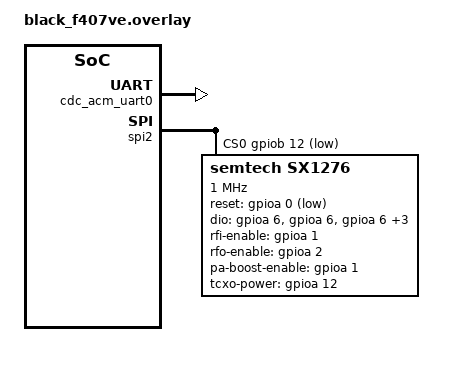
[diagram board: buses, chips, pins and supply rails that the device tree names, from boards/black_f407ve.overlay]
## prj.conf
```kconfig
CONFIG_GPIO=y
CONFIG_SPI=y
CONFIG_CONSOLE=y
CONFIG_LOG=y
CONFIG_PRINTK=y

#CONFIG_USB_CDC_ACM=y
CONFIG_USB_DEVICE_STACK=y
CONFIG_USB_DEVICE_PRODUCT="Zephyr Console"
CONFIG_SERIAL=y
CONFIG_UART_LINE_CTRL=y
CONFIG_USB_DEVICE_VID=0x1234
CONFIG_USB_DEVICE_PID=0x100

#CONFIG_UART_INTERRUPT_DRIVEN=y
#CONFIG_UART_CONSOLE_ON_DEV_NAME="CDC_ACM_0"

CONFIG_LORA=y
CONFIG_LORA_LOG_LEVEL_DBG=y
CONFIG_LORA_SX12XX=y
#CONFIG_LORA_SX1276=y
CONFIG_LORAWAN=y
CONFIG_LORAWAN_LOG_LEVEL_DBG=y
CONFIG_LORAMAC_REGION_EU868=y
CONFIG_LORAWAN_SYSTEM_MAX_RX_ERROR=90

CONFIG_TEST_RANDOM_GENERATOR=y
```

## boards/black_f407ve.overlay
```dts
/ {
    chosen {
        zephyr,console = &cdc_acm_uart0;
    };
};

&zephyr_udc0 {
    cdc_acm_uart0: cdc_acm_uart0 {
        compatible = "zephyr,cdc-acm-uart";
        label = "CDC_ACM_0";
    };
};

&spi2 {
    status = "okay";
    cs-gpios = <&gpiob 12  GPIO_ACTIVE_LOW>;

    lora: sx1276@0 {
        compatible = "semtech,sx1276";
        reg = <0>;
        label = "sx1276";
        reset-gpios = <&gpioa 0 GPIO_ACTIVE_LOW>;
        dio-gpios = <&gpioa 6 (GPIO_PULL_DOWN | GPIO_ACTIVE_HIGH)>,
            <&gpioa 6 (GPIO_PULL_DOWN | GPIO_ACTIVE_HIGH)>,
            <&gpioa 6 (GPIO_PULL_DOWN | GPIO_ACTIVE_HIGH)>,
            <&gpioa 9 (GPIO_PULL_DOWN | GPIO_ACTIVE_HIGH)>,
            <&gpioa 9 (GPIO_PULL_DOWN | GPIO_ACTIVE_HIGH)>,
            <&gpioa 9 (GPIO_PULL_DOWN | GPIO_ACTIVE_HIGH)>;
        rfi-enable-gpios = <&gpioa 1 GPIO_ACTIVE_HIGH>;
        rfo-enable-gpios = <&gpioa 2 GPIO_ACTIVE_HIGH>;
        pa-boost-enable-gpios = <&gpioa 1 GPIO_ACTIVE_HIGH>;
        tcxo-power-gpios = <&gpioa 12 GPIO_ACTIVE_HIGH>;
        tcxo-power-startup-delay-ms = <5>;
        spi-max-frequency = <1000000>;
    };
};

/ {
    aliases {
       lora0 = &lora;
  };
};
```

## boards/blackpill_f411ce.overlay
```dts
/ {
    chosen {
        zephyr,console = &cdc_acm_uart0;
    };
};

&zephyr_udc0 {
    cdc_acm_uart0: cdc_acm_uart0 {
        compatible = "zephyr,cdc-acm-uart";
        label = "CDC_ACM_0";
    };
};


&spi1 {
    status = "okay";
    cs-gpios = <&gpiob 12  GPIO_ACTIVE_LOW>;

    lora: sx1276@0 {
        compatible = "semtech,sx1276";
        reg = <0>;
        label = "sx1276";
        reset-gpios = <&gpioa 3 GPIO_ACTIVE_LOW>;
        dio-gpios = <&gpioa 0 (GPIO_PULL_DOWN | GPIO_ACTIVE_HIGH)>,
                    <&gpioa 1 (GPIO_PULL_DOWN | GPIO_ACTIVE_HIGH)>;
        spi-max-frequency = <1000000>;
        power-amplifier-output = "pa-boost";
    };
};

/ {
    aliases {
       lora0 = &lora;
  };
};
```

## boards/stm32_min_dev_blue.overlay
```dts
/ {
    chosen {
        zephyr,console = &cdc_acm_uart0;
    };
};

&zephyr_udc0 {
    cdc_acm_uart0: cdc_acm_uart0 {
        compatible = "zephyr,cdc-acm-uart";
        label = "CDC_ACM_0";
    };
};


&spi1 {
    status = "okay";
    cs-gpios = <&gpioa 15 GPIO_ACTIVE_LOW>;

    lora: sx1276@0 {
        compatible = "semtech,sx1276";
        reg = <0>;
        label = "sx1276";
        reset-gpios = <&gpioc 0 GPIO_ACTIVE_LOW>;
        dio-gpios = <&gpiob 4 (GPIO_PULL_DOWN | GPIO_ACTIVE_HIGH)>,
            <&gpiob 1 (GPIO_PULL_DOWN | GPIO_ACTIVE_HIGH)>,
            <&gpiob 0 (GPIO_PULL_DOWN | GPIO_ACTIVE_HIGH)>,
            <&gpioc 13 (GPIO_PULL_DOWN | GPIO_ACTIVE_HIGH)>,
            <&gpioa 5 (GPIO_PULL_DOWN | GPIO_ACTIVE_HIGH)>,
            <&gpioa 4 (GPIO_PULL_DOWN | GPIO_ACTIVE_HIGH)>;
        rfi-enable-gpios = <&gpioa 1 GPIO_ACTIVE_HIGH>;
        rfo-enable-gpios = <&gpioc 2 GPIO_ACTIVE_HIGH>;
        pa-boost-enable-gpios = <&gpioc 1 GPIO_ACTIVE_HIGH>;
        tcxo-power-gpios = <&gpioa 12 GPIO_ACTIVE_HIGH>;
        tcxo-power-startup-delay-ms = <5>;
        spi-max-frequency = <1000000>;
    };
};

/ {
    aliases {
       lora0 = &lora;
  };
};
```

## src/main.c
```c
#define   OTAA
//#define ABP

#include <lorawan/lorawan.h>
#include <zephyr.h>
#include <usb/usb_device.h>
#include <drivers/uart.h>
#include <drivers/gpio.h>
#include <zephyr/random/rand32.h>

BUILD_ASSERT(DT_NODE_HAS_COMPAT(DT_CHOSEN(zephyr_console), zephyr_cdc_acm_uart),
         "Console device is not ACM CDC UART device");

#define DEFAULT_RADIO_NODE DT_ALIAS(lora0)
BUILD_ASSERT(DT_NODE_HAS_STATUS(DEFAULT_RADIO_NODE, okay), "No default LoRa radio specified in DT");
#define DEFAULT_RADIO DT_LABEL(DEFAULT_RADIO_NODE)

#define LOG_LEVEL CONFIG_LOG_DEFAULT_LEVEL
#include <logging/log.h>
LOG_MODULE_REGISTER(lorawan_node);

/* Customize based on network configuration */
// OTAA
#ifdef OTAA
#define LORAWAN_DEV_EUI         { 0x00, 0x00, 0x00, 0x00, 0x00, 0x00, 0x00, 0x00 }    // MSB Format!
#define LORAWAN_JOIN_EUI        { 0x00, 0x00, 0x00, 0x00, 0x00, 0x00, 0x00, 0x00 }    // MSB Format!
#define LORAWAN_APP_KEY         { 0x00, 0x00, 0x00, 0x00, 0x00, 0x00, 0x00, 0x00, 0x00, 0x00, 0x00, 0x00, 0x00, 0x00, 0x00, 0x00 }
#endif

// ABP
#ifdef ABP
#define LORAWAN_DEV_ADDR        { 0x00, 0x00, 0x00, 0x00 }
#define LORAWAN_NWK_SKEY        { 0x00, 0x00, 0x00, 0x00, 0x00, 0x00, 0x00, 0x00, 0x00, 0x00, 0x00, 0x00, 0x00, 0x00, 0x00, 0x00 }
#define LORAWAN_APP_SKEY        { 0x00, 0x00, 0x00, 0x00, 0x00, 0x00, 0x00, 0x00, 0x00, 0x00, 0x00, 0x00, 0x00, 0x00, 0x00, 0x00 }
#define LORAWAN_APP_EUI         { 0x00, 0x00, 0x00, 0x00, 0x00, 0x00, 0x00, 0x00 }
#endif

#define DELAY K_MSEC(10000)

char data[] = {'h', 'e', 'l', 'l', 'o', 'w', 'o', 'r', 'l', 'd','f','r','o','z','e','p','h','y','r'};

/* size of stack area used by each thread */
#define STACKSIZE 1024

/* scheduling priority used by each thread */
#define PRIORITY 7

#define LED0_NODE DT_ALIAS(led0)
//#define LED1_NODE DT_ALIAS(led1)

static const struct gpio_dt_spec led0 = GPIO_DT_SPEC_GET(LED0_NODE, gpios);

uint32_t    mainled_rate = 150;     

void blink(const struct gpio_dt_spec *led, uint32_t *sleep_ms, uint32_t id) {
    int ret;

    if (!device_is_ready(led->port)) {
        return;
    }

    ret = gpio_pin_configure_dt(led, GPIO_OUTPUT_ACTIVE);
    if (ret < 0) {
        return;
    }

    while (1) {
        // if the rate is zero we set the LED OFF
        if ( *sleep_ms == 0) {
            gpio_pin_set_dt(led, 0);
            // and we sleep some time to let the task run
            k_msleep(200);
        } else {
            if ( *sleep_ms == 1) {
                // Led always on
                gpio_pin_set_dt(led, 1);
                // and we sleep some time to let the task run
                k_msleep(200);
            } else {
                // Otherwise we just blink the led at the defined rate
                gpio_pin_toggle_dt(led);
                //printk("Blink %d\n", id);
                k_msleep( *sleep_ms);
            }
        }
    }
}

void blink0(void) {

    blink(&led0, &mainled_rate, 0);
}

// Call back functions:
// Downlink callback
static void dl_callback(uint8_t port, bool data_pending, int16_t rssi, int8_t snr,  uint8_t len, const uint8_t *data)
{   
    printk("\nDownlink data received: \n");
    for(int i=0; i < len; i++ )
        printk("%02X ", data[i]);
    
    printk("\n");
    printk("Data size: %d\n" , len );
    printk("Data Port: %d\n" , port );
    printk("RSSI:      %d\n" , (int16_t)rssi );
    printk("SNR:       %d\n" , (int16_t)snr );
    printk("Data pend: %d\n" , data_pending );

    printk("\n\n");

}

// ADR change callback
static void lorwan_datarate_changed(enum lorawan_datarate dr)
{   
    uint8_t unused, max_size;
    
    lorawan_get_payload_sizes(&unused, &max_size); 
    LOG_INF("New Datarate: DR_%d, Max Payload %d", dr, max_size);
}

/* Main program.
*/

void main(void)
{
	const struct device *lora_dev;
	struct lorawan_join_config join_cfg;
#ifdef OTAA
	uint8_t dev_eui[] = LORAWAN_DEV_EUI;
	uint8_t join_eui[] = LORAWAN_JOIN_EUI;
	uint8_t app_key[] = LORAWAN_APP_KEY;
#endif

#ifdef ABP
    uint8_t dev_addr[] = LORAWAN_DEV_ADDR;
    uint8_t nwk_skey[] = LORAWAN_NWK_SKEY;
    uint8_t app_skey[] = LORAWAN_APP_SKEY;
    uint8_t app_eui[]  = LORAWAN_APP_EUI;
#endif
	int ret;

    // Give time connect to USB.
    k_msleep(2500);
    mainled_rate = 500;         // Change led blinking rate to signal main program start.

    printk("Starting up Lora node...\n\n");

	lora_dev = device_get_binding(DEFAULT_RADIO);
	if (!lora_dev) {
        printk("Lora default radio not found.\nExiting program.\n");
		return;
	}

    printk("Starting Lorawan stack...\n");
	ret = lorawan_start();
	if (ret < 0) {
		printk("lorawan_start failed: %d\n\n", ret);
		return;
	}

    // Enable ADR
    lorawan_enable_adr( true );
    
    // Enable callbacks
    struct lorawan_downlink_cb downlink_cb = {
        .port = LW_RECV_PORT_ANY,
        .cb = dl_callback
    };

    lorawan_register_downlink_callback( &downlink_cb );
    lorawan_register_dr_changed_callback( lorwan_datarate_changed );

    uint32_t random = sys_rand32_get();

    uint16_t dev_nonce = random & 0x0000FFFF;

#ifdef OTAA
	join_cfg.mode = LORAWAN_CLASS_A;
	join_cfg.dev_eui = dev_eui;
	join_cfg.otaa.join_eui = join_eui;
	join_cfg.otaa.app_key = app_key;
	join_cfg.otaa.nwk_key = app_key;
    join_cfg.otaa.dev_nonce = dev_nonce;
#endif

#ifdef ABP
    join_cfg.mode = LORAWAN_ACT_ABP;
    join_cfg.dev_eui = dev_addr;
    join_cfg.abp.dev_addr = dev_addr;
    join_cfg.abp.app_skey = app_skey;
    join_cfg.abp.nwk_skey = nwk_skey;
    join_cfg.abp.app_eui  = app_eui;
#endif


	printk("Joining TTN network over");
#ifdef OTAA
    printk(" OTTA\n\n\n");
#else
    printk(" ABP\n\n\n");
#endif

    // Loop until we connect
    do {
    	ret = lorawan_join(&join_cfg);
    	if (ret < 0) {
	    	printk("lorawan_join_network failed: %d\n\n", ret);
            mainled_rate = 100;             // Flash the led very rapidly to signal failure.
            printk("Sleeping for 10s to try again to join network.\n\n");
            k_sleep(K_MSEC(10000));
            mainled_rate = 0;
	    }
    } while ( ret < 0 );

	printk("Sending data...\n\n");

	while (1) {
		ret = lorawan_send(2, data, sizeof(data), LORAWAN_MSG_CONFIRMED);

		if (ret == -EAGAIN) {
			k_sleep(DELAY);
			continue;
		}

		if (ret < 0) {
			k_sleep(DELAY);
			continue;
		}

		printk("Data sent!\n\n");
		k_sleep(DELAY);
	}
}

void console_init(void) {
    const struct device *dev = DEVICE_DT_GET(DT_CHOSEN(zephyr_console));
    uint32_t dtr = 0;

    if (usb_enable(NULL)) {
        return;
    }

    /* Poll if the DTR flag was set, optional */
    while (!dtr) {
        uart_line_ctrl_get(dev, UART_LINE_CTRL_DTR, &dtr);
        k_msleep(250);          // Let other tasks to run if no terminal is connected to USB
    }

    while ( 1 ) {
        k_msleep(200000);
        //printk("Ola mundo!\n");
    }
}


// Task for handling blinking leds.
K_THREAD_DEFINE(blink0_id, STACKSIZE, blink0, NULL, NULL, NULL, PRIORITY, 0, 0);        // Main Green LED

// Task for starting up the USB console
K_THREAD_DEFINE(console_id, STACKSIZE, console_init, NULL, NULL, NULL, PRIORITY-2, 0, 0);

// Lorawan handling task to join the TTN network
//K_THREAD_DEFINE(lorawan_task_id, STACKSIZE, lorawan_task, NULL, NULL, NULL, PRIORITY, 0, 0);
```
